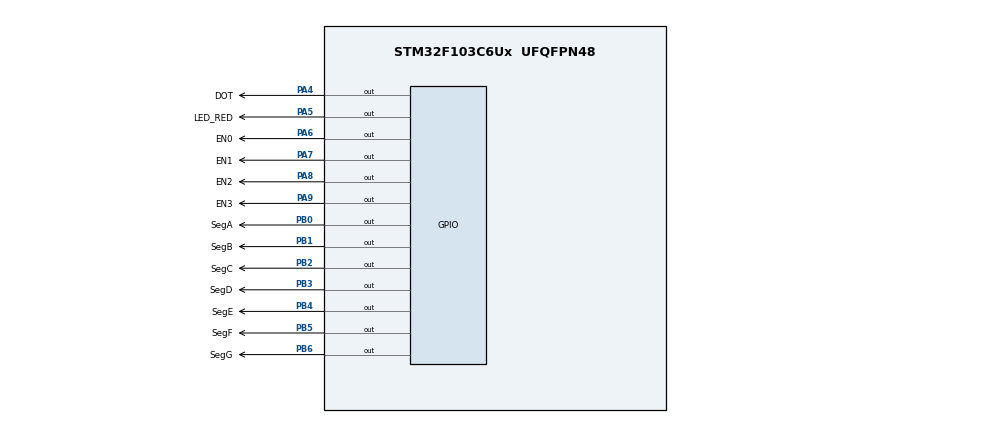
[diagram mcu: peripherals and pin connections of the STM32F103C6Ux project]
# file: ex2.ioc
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Mcu.Family=STM32F1
Mcu.Name=STM32F103C6Ux
Mcu.Package=UFQFPN48
NVIC.PriorityGroup=NVIC_PRIORITYGROUP_4
NVIC.TIM2_IRQn=true\:0\:0\:false\:false\:true\:true\:true
PA4.GPIO_Label=DOT
PA4.Signal=GPIO_Output
PA5.GPIO_Label=LED_RED
PA5.Signal=GPIO_Output
PA6.GPIO_Label=EN0
PA6.Signal=GPIO_Output
PA7.GPIO_Label=EN1
PA7.Signal=GPIO_Output
PA8.GPIO_Label=EN2
PA8.Signal=GPIO_Output
PA9.GPIO_Label=EN3
PA9.Signal=GPIO_Output
PB0.GPIO_Label=SegA
PB0.Signal=GPIO_Output
PB1.GPIO_Label=SegB
PB1.Signal=GPIO_Output
PB2.GPIO_Label=SegC
PB2.Signal=GPIO_Output
PB3.GPIO_Label=SegD
PB3.Signal=GPIO_Output
PB4.GPIO_Label=SegE
PB4.Signal=GPIO_Output
PB5.GPIO_Label=SegF
PB5.Signal=GPIO_Output
PB6.GPIO_Label=SegG
PB6.Signal=GPIO_Output
ProjectManager.HeapSize=0x200
ProjectManager.StackSize=0x400
ProjectManager.TargetToolchain=STM32CubeIDE
RCC.APB1Freq_Value=8000000
RCC.APB2Freq_Value=8000000
TIM2.Period=9
TIM2.Prescaler=7999
VP_SYS_VS_ND.Mode=No_Debug
VP_TIM2_VS_ClockSourceINT.Mode=Internal
board=custom

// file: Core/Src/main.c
/* USER CODE BEGIN Header */
/**
  ******************************************************************************
  * @file           : main.c
  * @brief          : Main program body
  ******************************************************************************
  * @attention
  *
  * <h2><center>&copy; Copyright (c) 2023 STMicroelectronics.
  * All rights reserved.</center></h2>
  *
  * This software component is licensed by ST under BSD 3-Clause license,
  * the "License"; You may not use this file except in compliance with the
  * License. You may obtain a copy of the License at:
  *                        opensource.org/licenses/BSD-3-Clause
  *
  ******************************************************************************
  */
/* USER CODE END Header */
#include "main.h"

/* USER CODE BEGIN Includes */
#include "myLib.h"
#include "sofware_timer.h"
/* USER CODE END Includes */

TIM_HandleTypeDef htim2;

void SystemClock_Config(void);
static void MX_GPIO_Init(void);
static void MX_TIM2_Init(void);

/* USER CODE BEGIN 0 */
void enState(uint8_t enIndex) {
	HAL_GPIO_WritePin(GPIOA, GPIO_PIN_(6), SET);
	HAL_GPIO_WritePin(GPIOA, GPIO_PIN_(7), SET);
	HAL_GPIO_WritePin(GPIOA, GPIO_PIN_(8), SET);
	HAL_GPIO_WritePin(GPIOA, GPIO_PIN_(9), SET);
	HAL_GPIO_WritePin(GPIOA, GPIO_PIN_(enIndex + 6), RESET);
}
/* USER CODE END 0 */

int main(void)
{

  /* MCU Configuration--------------------------------------------------------*/

  /* Reset of all peripherals, Initializes the Flash interface and the Systick. */
  HAL_Init();

  /* Configure the system clock */
  SystemClock_Config();

  /* Initialize all configured peripherals */
  MX_GPIO_Init();
  MX_TIM2_Init();
  /* USER CODE BEGIN 2 */
  HAL_TIM_Base_Start_IT (& htim2 );
  /* USER CODE END 2 */

  /* Infinite loop */
  /* USER CODE BEGIN WHILE */
  setTimer(0, 100); //0: Red led; 1: 7 segment leds; 2: 2 middle leds
  setTimer(1, 50);
  setTimer(2, 100);
  uint8_t state = 0; //0: 1---; 1: -2--; 1: --3-; 2: ---0
  while (1)
  {
	  if (timerFlag[0] == 1) {
		  setTimer(0, 100);
		  HAL_GPIO_TogglePin(GPIOA, LED_RED_Pin);
	  }
	  if(timerFlag[1] == 1) {
		  setTimer(1, 50);
		  switch (state) {
		  	  case 0:
		  		  state = 1;
		  		  enState(0);
		  		  display7SEG1(1);
		  		  break;
		  	  case 1:
		  		  state = 2;
		  		  enState(1);
		  		  display7SEG1(2);
		  		  break;
		  	  case 2:
		  		  state = 3;
		  		  enState(2);
		  		  display7SEG1(3);
		  		  break;
		  	  case 3:
		  		  state = 0;
		  		  enState(3);
		  		  display7SEG1(0);
		  		  break;
		  	  default:
		  		  break;
		  }
	  }
	  if (timerFlag[2] == 1) {
		  setTimer(2, 100);
		  HAL_GPIO_TogglePin(GPIOA, DOT_Pin);
	  }
    /* USER CODE END WHILE */

  }
}

void SystemClock_Config(void)
{
  RCC_OscInitTypeDef RCC_OscInitStruct = {0};
  RCC_ClkInitTypeDef RCC_ClkInitStruct = {0};

  /** Initializes the RCC Oscillators according to the specified parameters
  * in the RCC_OscInitTypeDef structure.
  */
  RCC_OscInitStruct.OscillatorType = RCC_OSCILLATORTYPE_HSI;
  RCC_OscInitStruct.HSIState = RCC_HSI_ON;
  RCC_OscInitStruct.HSICalibrationValue = RCC_HSICALIBRATION_DEFAULT;
  RCC_OscInitStruct.PLL.PLLState = RCC_PLL_NONE;
  if (HAL_RCC_OscConfig(&RCC_OscInitStruct) != HAL_OK)
  {
    Error_Handler();
  }
  /** Initializes the CPU, AHB and APB buses clocks
  */
  RCC_ClkInitStruct.ClockType = RCC_CLOCKTYPE_HCLK|RCC_CLOCKTYPE_SYSCLK
                              |RCC_CLOCKTYPE_PCLK1|RCC_CLOCKTYPE_PCLK2;
  RCC_ClkInitStruct.SYSCLKSource = RCC_SYSCLKSOURCE_HSI;
  RCC_ClkInitStruct.AHBCLKDivider = RCC_SYSCLK_DIV1;
  RCC_ClkInitStruct.APB1CLKDivider = RCC_HCLK_DIV1;
  RCC_ClkInitStruct.APB2CLKDivider = RCC_HCLK_DIV1;

  if (HAL_RCC_ClockConfig(&RCC_ClkInitStruct, FLASH_LATENCY_0) != HAL_OK)
  {
    Error_Handler();
  }
}

static void MX_TIM2_Init(void)
{

  TIM_ClockConfigTypeDef sClockSourceConfig = {0};
  TIM_MasterConfigTypeDef sMasterConfig = {0};

  htim2.Instance = TIM2;
  htim2.Init.Prescaler = 7999;
  htim2.Init.CounterMode = TIM_COUNTERMODE_UP;
  htim2.Init.Period = 9;
  htim2.Init.ClockDivision = TIM_CLOCKDIVISION_DIV1;
  htim2.Init.AutoReloadPreload = TIM_AUTORELOAD_PRELOAD_DISABLE;
  if (HAL_TIM_Base_Init(&htim2) != HAL_OK)
  {
    Error_Handler();
  }
  sClockSourceConfig.ClockSource = TIM_CLOCKSOURCE_INTERNAL;
  if (HAL_TIM_ConfigClockSource(&htim2, &sClockSourceConfig) != HAL_OK)
  {
    Error_Handler();
  }
  sMasterConfig.MasterOutputTrigger = TIM_TRGO_RESET;
  sMasterConfig.MasterSlaveMode = TIM_MASTERSLAVEMODE_DISABLE;
  if (HAL_TIMEx_MasterConfigSynchronization(&htim2, &sMasterConfig) != HAL_OK)
  {
    Error_Handler();
  }

}

static void MX_GPIO_Init(void)
{
  GPIO_InitTypeDef GPIO_InitStruct = {0};

  /* GPIO Ports Clock Enable */
  __HAL_RCC_GPIOA_CLK_ENABLE();
  __HAL_RCC_GPIOB_CLK_ENABLE();

  /*Configure GPIO pin Output Level */
  HAL_GPIO_WritePin(GPIOA, DOT_Pin|LED_RED_Pin|EN0_Pin|EN1_Pin
                          |EN2_Pin|EN3_Pin, GPIO_PIN_RESET);

  /*Configure GPIO pin Output Level */
  HAL_GPIO_WritePin(GPIOB, SegA_Pin|SegB_Pin|SegC_Pin|SegD_Pin
                          |SegE_Pin|SegF_Pin|SegG_Pin, GPIO_PIN_RESET);

  /*Configure GPIO pins : DOT_Pin LED_RED_Pin EN0_Pin EN1_Pin
                           EN2_Pin EN3_Pin */
  GPIO_InitStruct.Pin = DOT_Pin|LED_RED_Pin|EN0_Pin|EN1_Pin
                          |EN2_Pin|EN3_Pin;
  GPIO_InitStruct.Mode = GPIO_MODE_OUTPUT_PP;
  GPIO_InitStruct.Pull = GPIO_NOPULL;
  GPIO_InitStruct.Speed = GPIO_SPEED_FREQ_LOW;
  HAL_GPIO_Init(GPIOA, &GPIO_InitStruct);

  /*Configure GPIO pins : SegA_Pin SegB_Pin SegC_Pin SegD_Pin
                           SegE_Pin SegF_Pin SegG_Pin */
  GPIO_InitStruct.Pin = SegA_Pin|SegB_Pin|SegC_Pin|SegD_Pin
                          |SegE_Pin|SegF_Pin|SegG_Pin;
  GPIO_InitStruct.Mode = GPIO_MODE_OUTPUT_PP;
  GPIO_InitStruct.Pull = GPIO_NOPULL;
  GPIO_InitStruct.Speed = GPIO_SPEED_FREQ_LOW;
  HAL_GPIO_Init(GPIOB, &GPIO_InitStruct);

}

/* USER CODE BEGIN 4 */
void HAL_TIM_PeriodElapsedCallback ( TIM_HandleTypeDef * htim ) {
	timerRun(0);
	timerRun(1);
	timerRun(2);
}
/* USER CODE END 4 */

void Error_Handler(void)
{
  __disable_irq();
  while (1)
  {
  }
}

/************************ (C) COPYRIGHT STMicroelectronics *****END OF FILE****/
